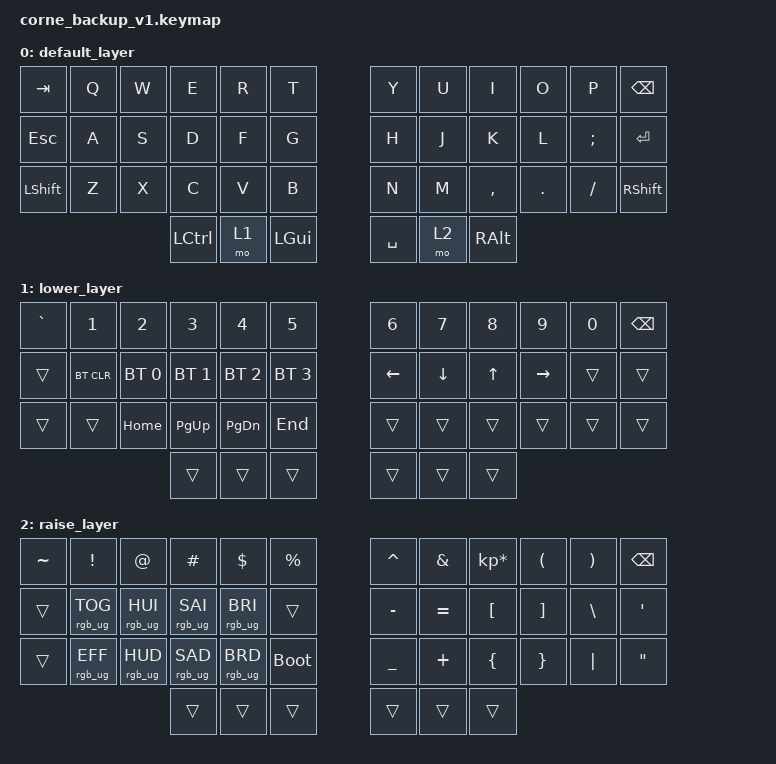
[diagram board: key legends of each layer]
/*
 * Copyright (c) 2020 The ZMK Contributors
 *
 * SPDX-License-Identifier: MIT
 */

#include <behaviors.dtsi>
#include <dt-bindings/zmk/keys.h>
#include <dt-bindings/zmk/bt.h>
#include <dt-bindings/zmk/rgb.h>

&led_strip {
    chain-length = <27>;
};

/ {
        keymap {
                compatible = "zmk,keymap";

                default_layer {
// -----------------------------------------------------------------------------------------
// |  TAB |  Q  |  W  |  E   |  R  |  T  |   |  Y  |  U   |  I  |  O  |  P  | BKSP |
// |  ESC |  A  |  S  |  D   |  F  |  G  |   |  H  |  J   |  K  |  L  |  ;  | ENT  |
// | SHFT |  Z  |  X  |  C   |  V  |  B  |   |  N  |  M   |  ,  |  .  |  /  | SHFT |
//                    | CTRL | LWR | LGUI|   | SPC | RSE | RALT|
                        bindings = <
   &kp TAB   &kp Q &kp W &kp E &kp R &kp T   &kp Y &kp U  &kp I     &kp O   &kp P    &kp BSPC
   &kp ESC   &kp A &kp S &kp D &kp F &kp G   &kp H &kp J  &kp K     &kp L   &kp SEMI &kp RET
   &kp LSHFT &kp Z &kp X &kp C &kp V &kp B   &kp N &kp M  &kp COMMA &kp DOT &kp FSLH &kp RSHFT
                  &kp LCTRL &mo 1 &kp LGUI   &kp SPACE &mo 2 &kp RALT
                        >;
                };
                lower_layer {
// -----------------------------------------------------------------------------------------
// | ` |  1    |  2  |  3  |  4  |  5  |   |  6  |  7  |  8  |  9  |  0  | BKSP |
// |   | BTCLR | BT0 | BT1 | BT2 | BT3 |   | LFT | DWN |  UP | RGT |     |      |
// |   |       | HOME| PGUP| PGDN| END |   |     |     |     |     |     |      |
//                   |     |     |     |   |     |     |     |
                        bindings = <
   &kp GRAVE &kp N1       &kp N2       &kp N3       &kp N4       &kp N5         &kp N6   &kp N7   &kp N8 &kp N9    &kp N0 &kp BSPC
   &trans    &bt BT_CLR &bt BT_SEL 0 &bt BT_SEL 1 &bt BT_SEL 2 &bt BT_SEL 3   &kp LEFT &kp DOWN &kp UP &kp RIGHT &trans &trans
   &trans    &trans    &kp HOME       &kp PG_UP       &kp PG_DN       &kp END         &trans   &trans   &trans &trans    &trans &trans
                  &trans &trans       &trans &trans &trans   &trans
                        >;
                };

                raise_layer {
// -----------------------------------------------------------------------------------------
// | ~ |   !   |   @   |   #   |   $   |   %   |   |  ^  |  &  |  *  |  (  |  )  | BKSP |
// |   |RGB_TOG|RGB_HUI|RGB_SAI|RGB_VAI|       |   |  -  |  =  |  [  |  ]  |  \  |  '   |
// |   |RGB_MOD|RGB_HUD|RGB_SAD|RGB_VAD|QK_BOOT|   |  _  |  +  |  {  |  }  | "|" |  "   |
//                      |  |     |     |   |     |     |     |
                        bindings = <
   &kp TILDE &kp EXCL &kp AT &kp HASH &kp DLLR &kp PRCNT   &kp CARET &kp AMPS  &kp KP_MULTIPLY &kp LPAR &kp RPAR &kp BSPC
   &trans    &rgb_ug  RGB_TOG   &rgb_ug RGB_HUI &rgb_ug RGB_SAI   &rgb_ug RGB_BRI   &trans      &kp MINUS &kp EQUAL &kp LBKT        &kp RBKT &kp BSLH &kp SQT
   &trans    &rgb_ug RGB_EFF   &rgb_ug RGB_HUD &rgb_ug RGB_SAD   &rgb_ug RGB_BRD   &bootloader      &kp UNDER &kp PLUS  &kp LBRC        &kp RBRC &kp PIPE &kp DQT
                  &trans &trans       &trans &trans &trans   &trans
                        >;
                };
        };
};
